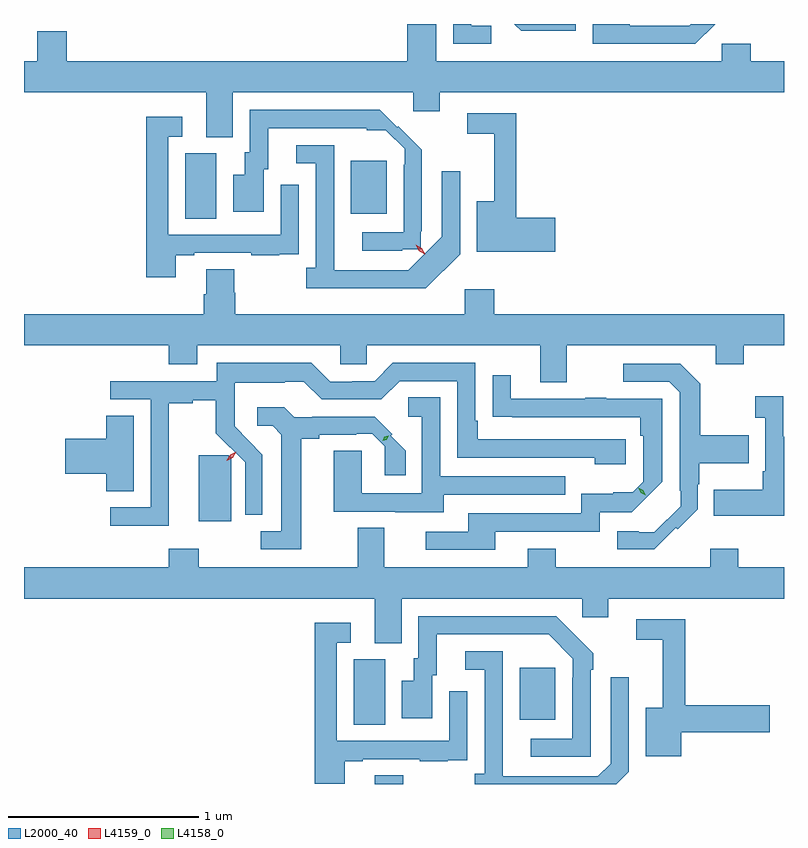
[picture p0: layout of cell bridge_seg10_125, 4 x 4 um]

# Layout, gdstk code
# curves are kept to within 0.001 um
import gdstk
lib = gdstk.Library(unit=1e-6, precision=1e-09)
def R(c, l, rs):  # rectangles x0, y0, x1, y1
    for r in rs: c.add(gdstk.rectangle(r[:2], r[2:], *l))
def P(c, l, *ps):  # polygons
    for p in ps: c.add(gdstk.Polygon(p, *l))
L2000_40 = (2000, 40)
L4158_0 = (4158, 0)
L4159_0 = (4159, 0)

bridge_seg10_125 = lib.new_cell('bridge_seg10_125')
R(bridge_seg10_125, L2000_40, [(364.343,1290.016,364.491,1290.062), (364.232,1290.328,364.396,1290.672), (365.105,1290.353,365.293,1290.628), (363.344,1292.992,363.508,1293.336), (364.217,1293.017,364.405,1293.295)])
P(bridge_seg10_125, L2000_40, [(364.954,1294.008),(364.851,1294.008),(364.851,1294.016),(364.755,1294.016),(364.755,1293.912),(364.954,1293.912)],
  [(365.401,1294.016),(365.077,1294.016),(365.113,1293.98),(365.401,1293.98)],
  [(366.134,1294.016),(366.005,1294.016),(365.997,1294.008),(365.683,1294.008),(365.683,1294.016),(365.49,1294.016),(365.49,1293.912),(366.03,1293.912)],
  [(363.595,1293.656),(364.544,1293.656),(364.544,1293.557),(364.684,1293.557),(364.684,1293.656),(366.496,1293.656),(366.496,1293.82),(366.32,1293.82),(366.32,1293.913),(366.168,1293.913),(366.168,1293.82),(364.666,1293.82),(364.666,1294.015),(364.514,1294.015),(364.514,1293.82),(362.72,1293.82),(362.72,1293.979),(362.567,1293.979),(362.567,1293.82),(362.496,1293.82),(362.496,1293.656),(363.455,1293.656),(363.455,1293.421),(363.595,1293.421)],
  [(364.487,1292.831),(364.583,1292.831),(364.583,1292.926),(364.59,1292.926),(364.59,1293.355),(364.466,1293.479),(364.46,1293.473),(364.369,1293.564),(363.684,1293.564),(363.684,1293.342),(363.659,1293.342),(363.659,1293.223),(363.596,1293.223),(363.596,1293.027),(363.757,1293.027),(363.757,1293.252),(363.781,1293.252),(363.781,1293.468),(364.3,1293.468),(364.3,1293.458),(364.401,1293.458),(364.5,1293.359),(364.5,1293.274),(364.494,1293.274),(364.494,1292.919),(364.275,1292.919),(364.275,1292.823),(364.487,1292.823)],
  [(365.293,1292.996),(365.087,1292.996),(365.087,1293.546),(364.83,1293.546),(364.83,1293.438),(364.97,1293.438),(364.97,1293.082),(364.88,1293.082),(364.88,1292.818),(365.293,1292.818)],
  [(363.295,1292.799),(363.391,1292.799),(363.391,1292.811),(363.691,1292.811),(363.691,1292.799),(363.839,1292.799),(363.839,1292.805),(363.941,1292.805),(363.941,1292.914),(363.942,1292.914),(363.942,1293.169),(363.846,1293.169),(363.846,1292.907),(363.255,1292.907),(363.255,1293.423),(363.328,1293.423),(363.328,1293.529),(363.139,1293.529),(363.139,1292.682),(363.295,1292.682)],
  [(364.791,1292.804),(364.791,1293.241),(364.695,1293.241),(364.695,1292.897),(364.519,1292.721),(364.129,1292.721),(364.128,1293.378),(363.93,1293.378),(363.93,1293.282),(364.032,1293.282),(364.032,1292.734),(363.981,1292.734),(363.981,1292.624),(364.611,1292.624)],
  [(365.353,1292.324),(366.137,1292.324),(366.137,1292.225),(366.285,1292.225),(366.285,1292.324),(366.496,1292.324),(366.496,1292.488),(364.97,1292.488),(364.97,1292.62),(364.817,1292.62),(364.817,1292.488),(363.608,1292.488),(363.608,1292.601),(363.603,1292.601),(363.603,1292.726),(363.455,1292.726),(363.455,1292.594),(363.443,1292.594),(363.443,1292.488),(362.496,1292.488),(362.496,1292.324),(363.257,1292.324),(363.257,1292.225),(363.409,1292.225),(363.409,1292.324),(364.161,1292.324),(364.161,1292.226),(364.299,1292.226),(364.299,1292.324),(365.213,1292.324),(365.213,1292.13),(365.353,1292.13)],
  [(363.259,1292.02),(363.384,1292.02),(363.384,1292.035),(363.505,1292.035),(363.505,1291.863),(363.66,1291.709),(363.66,1291.432),(363.75,1291.432),(363.75,1291.75),(363.604,1291.898),(363.604,1291.995),(363.606,1291.995),(363.606,1292.129),(363.869,1292.129),(363.869,1292.133),(363.969,1292.133),(364.062,1292.04),(364.377,1292.04),(364.473,1292.136),(364.776,1292.136),(364.776,1291.734),(365.501,1291.734),(365.501,1291.7),(365.662,1291.7),(365.662,1291.83),(364.885,1291.83),(364.885,1291.927),(364.872,1291.927),(364.872,1292.232),(364.437,1292.232),(364.341,1292.136),(364.223,1292.136),(364.223,1292.133),(364.107,1292.133),(364.007,1292.233),(363.51,1292.233),(363.51,1292.136),(362.949,1292.136),(362.949,1292.04),(363.162,1292.04),(363.162,1291.473),(362.949,1291.473),(362.949,1291.375),(363.259,1291.375)],
  [(365.927,1291.366),(365.937,1291.357),(366.042,1291.462),(366.042,1291.593),(366.05,1291.593),(366.05,1291.703),(366.311,1291.703),(366.311,1291.851),(366.055,1291.851),(366.055,1292.123),(365.949,1292.229),(365.649,1292.229),(365.649,1292.133),(365.892,1292.133),(365.946,1292.079),(365.946,1291.56),(365.952,1291.56),(365.952,1291.479),(365.814,1291.341),(365.732,1291.341),(365.732,1291.347),(365.619,1291.347),(365.619,1291.251),(365.812,1291.251)],
  [(364.975,1291.344),(365.526,1291.344),(365.526,1291.446),(365.695,1291.446),(365.856,1291.607),(365.856,1292.043),(365.561,1292.043),(365.561,1292.048),(365.449,1292.048),(365.449,1292.043),(365.059,1292.043),(365.059,1292.167),(364.963,1292.167),(364.963,1291.948),(365.74,1291.947),(365.74,1291.85),(365.754,1291.85),(365.754,1291.607),(365.699,1291.552),(365.598,1291.552),(365.598,1291.543),(365.43,1291.543),(365.43,1291.44),(364.835,1291.44),(364.835,1291.344),(364.611,1291.344),(364.611,1291.248),(364.975,1291.248)],
  [(366.496,1291.843),(366.493,1291.843),(366.493,1292.056),(366.345,1292.056),(366.345,1291.943),(366.396,1291.943),(366.396,1291.663),(366.384,1291.663),(366.384,1291.566),(366.127,1291.566),(366.127,1291.427),(366.496,1291.427)],
  [(364.705,1291.539),(365.345,1291.539),(365.345,1291.635),(364.686,1291.635),(364.686,1292.051),(364.518,1292.051),(364.518,1291.95),(364.59,1291.95),(364.59,1291.545),(364.273,1291.545),(364.273,1291.769),(364.127,1291.769),(364.127,1291.449),(364.451,1291.449),(364.451,1291.445),(364.705,1291.445)],
  [(363.955,1291.832),(364.051,1291.832),(364.051,1291.854),(364.244,1291.854),(364.244,1291.86),(364.329,1291.86),(364.395,1291.794),(364.395,1291.641),(364.505,1291.641),(364.505,1291.77),(364.426,1291.849),(364.435,1291.858),(364.342,1291.95),(364.012,1291.95),(364.012,1291.947),(363.918,1291.947),(363.866,1291.999),(363.723,1291.999),(363.723,1291.902),(363.804,1291.902),(363.851,1291.855),(363.851,1291.347),(363.741,1291.347),(363.741,1291.251),(363.955,1291.251)],
  [(363.073,1291.955),(362.93,1291.955),(362.93,1291.832),(362.712,1291.832),(362.712,1291.649),(362.93,1291.649),(362.93,1291.558),(363.073,1291.558)],
  [(363.586,1291.738),(363.573,1291.738),(363.573,1291.746),(363.416,1291.746),(363.416,1291.398),(363.586,1291.398)],
  [(364.483,1290.992),(365.433,1290.992),(365.433,1290.894),(365.572,1290.894),(365.572,1290.992),(366.496,1290.992),(366.496,1291.156),(366.255,1291.156),(366.255,1291.255),(366.107,1291.255),(366.107,1291.156),(365.295,1291.156),(365.295,1291.255),(365.147,1291.255),(365.147,1291.156),(364.393,1291.156),(364.393,1291.364),(364.253,1291.364),(364.253,1291.156),(363.417,1291.156),(363.417,1291.255),(363.257,1291.255),(363.257,1291.156),(362.496,1291.156),(362.496,1290.992),(364.343,1290.992),(364.343,1290.757),(364.483,1290.757)],
  [(365.478,1290.617),(365.493,1290.617),(365.493,1290.705),(365.296,1290.9),(364.572,1290.9),(364.572,1290.678),(364.547,1290.678),(364.547,1290.559),(364.484,1290.559),(364.484,1290.363),(364.645,1290.363),(364.645,1290.588),(364.669,1290.588),(364.669,1290.804),(365.257,1290.804),(365.385,1290.675),(365.385,1290.575),(365.382,1290.575),(365.382,1290.255),(365.163,1290.255),(365.163,1290.159),(365.478,1290.159)],
  [(365.956,1290.289),(366.421,1290.289),(366.421,1290.431),(365.975,1290.431),(365.975,1290.882),(365.718,1290.882),(365.718,1290.774),(365.858,1290.774),(365.858,1290.418),(365.768,1290.418),(365.768,1290.161),(365.956,1290.161)],
  [(364.183,1290.135),(364.279,1290.135),(364.279,1290.147),(364.579,1290.147),(364.579,1290.135),(364.727,1290.135),(364.727,1290.141),(364.829,1290.141),(364.829,1290.25),(364.83,1290.25),(364.83,1290.505),(364.734,1290.505),(364.734,1290.243),(364.143,1290.243),(364.143,1290.759),(364.216,1290.759),(364.216,1290.865),(364.027,1290.865),(364.027,1290.018),(364.183,1290.018)],
  [(365.679,1290.081),(365.679,1290.577),(365.583,1290.577),(365.583,1290.123),(365.517,1290.057),(365.017,1290.057),(365.016,1290.714),(364.818,1290.714),(364.818,1290.618),(364.92,1290.618),(364.92,1290.07),(364.869,1290.07),(364.869,1290.016),(365.614,1290.016)])
P(bridge_seg10_125, L4158_0, [(365.769,1291.535),(365.742,1291.548),(365.73,1291.574),(365.73,1291.575),(365.73,1291.575),(365.756,1291.562),(365.769,1291.535),(365.769,1291.535)],
  [(364.383,1291.823),(364.383,1291.823),(364.392,1291.843),(364.414,1291.848),(364.415,1291.848),(364.415,1291.848),(364.405,1291.828),(364.383,1291.823)])
P(bridge_seg10_125, L4159_0, [(364.606,1292.805),(364.574,1292.823),(364.557,1292.855),(364.557,1292.855),(364.557,1292.855),(364.589,1292.837),(364.607,1292.805),(364.607,1292.805)],
  [(363.563,1291.718),(363.563,1291.719),(363.581,1291.749),(363.612,1291.765),(363.612,1291.765),(363.612,1291.765),(363.594,1291.734),(363.563,1291.718)])

lib.write_gds('bridge_seg10_125.gds')
